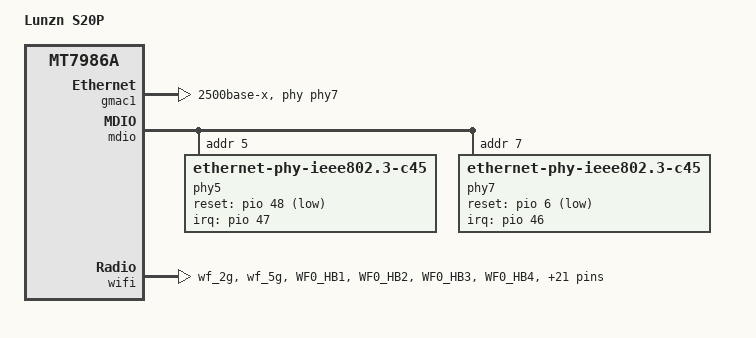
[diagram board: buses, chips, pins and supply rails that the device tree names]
// SPDX-License-Identifier: GPL-2.0-or-later OR MIT

/dts-v1/;
#include "mt7986a-lunzn-s20.dtsi"

/ {
	model = "Lunzn S20P";
	compatible = "lunzn,s20p", "mediatek,mt7986a";

	aliases {
		label-mac-device = &gmac1;
	};
};

&eth {
	gmac1: mac@1 {
		compatible = "mediatek,eth-mac";
		reg = <1>;
		phy-handle = <&phy7>;
		phy-mode = "2500base-x";

		nvmem-cells = <&macaddr_factory_24>;
		nvmem-cell-names = "mac-address";
	};
};

&mdio {
	phy5: ethernet-phy@5 {
		compatible = "ethernet-phy-ieee802.3-c45";
		reg = <5>;
		reset-assert-us = <100000>;
		reset-deassert-us = <100000>;
		reset-gpios = <&pio 48 GPIO_ACTIVE_LOW>;
		interrupt-parent = <&pio>;
		interrupts = <47 IRQ_TYPE_LEVEL_LOW>;
		realtek,aldps-enable;

		leds {
			#address-cells = <1>;
			#size-cells = <0>;

			led@0 {
				reg = <0>;
				function = LED_FUNCTION_LAN;
				color = <LED_COLOR_ID_AMBER>;
			};

			led@1 {
				reg = <1>;
				function = LED_FUNCTION_LAN;
				color = <LED_COLOR_ID_GREEN>;
			};
		};
	};

	phy7: ethernet-phy@7 {
		compatible = "ethernet-phy-ieee802.3-c45";
		reg = <7>;
		reset-assert-us = <100000>;
		reset-deassert-us = <100000>;
		reset-gpios = <&pio 6 GPIO_ACTIVE_LOW>;
		interrupt-parent = <&pio>;
		interrupts = <46 IRQ_TYPE_LEVEL_LOW>;
		realtek,aldps-enable;

		leds {
			#address-cells = <1>;
			#size-cells = <0>;

			led@0 {
				reg = <0>;
				function = LED_FUNCTION_WAN;
				color = <LED_COLOR_ID_AMBER>;
			};

			led@1 {
				reg = <1>;
				function = LED_FUNCTION_WAN;
				color = <LED_COLOR_ID_GREEN>;
			};
		};
	};
};

&switch {
	ports {
		#address-cells = <1>;
		#size-cells = <0>;

		port@0 {
			reg = <0>;
			label = "lan5";
		};

		port@1 {
			reg = <1>;
			label = "lan4";
		};

		port@2 {
			reg = <2>;
			label = "lan3";
		};

		port@3 {
			reg = <3>;
			label = "lan2";
		};

		port@4 {
			reg = <4>;
			label = "lan1";
		};

		port@5 {
			reg = <5>;
			label = "lan6";
			phy-handle = <&phy5>;
			phy-mode = "2500base-x";
		};

		port@6 {
			reg = <6>;
			ethernet = <&gmac0>;
			phy-mode = "2500base-x";

			fixed-link {
				speed = <2500>;
				full-duplex;
				pause;
			};
		};
	};
};

&pio {
	wf_2g_5g_pins: wf_2g_5g-pins {
		mux {
			function = "wifi";
			groups = "wf_2g", "wf_5g";
		};
		conf {
			pins = "WF0_HB1", "WF0_HB2", "WF0_HB3", "WF0_HB4",
			       "WF0_HB0", "WF0_HB0_B", "WF0_HB5", "WF0_HB6",
			       "WF0_HB7", "WF0_HB8", "WF0_HB9", "WF0_HB10",
			       "WF0_TOP_CLK", "WF0_TOP_DATA", "WF1_HB1",
			       "WF1_HB2", "WF1_HB3", "WF1_HB4", "WF1_HB0",
			       "WF1_HB5", "WF1_HB6", "WF1_HB7", "WF1_HB8",
			       "WF1_TOP_CLK", "WF1_TOP_DATA";
			drive-strength = <MTK_DRIVE_4mA>;
		};
	};
};

&wifi {
	pinctrl-names = "default";
	pinctrl-0 = <&wf_2g_5g_pins>, <&wf_led_pins>;
};
